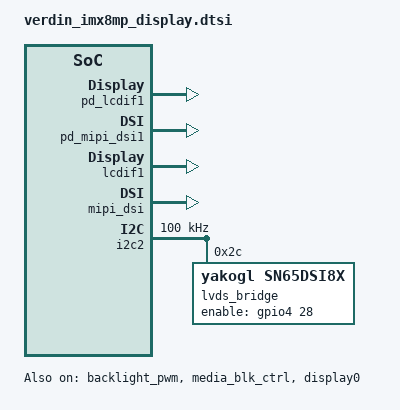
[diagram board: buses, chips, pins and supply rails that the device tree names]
/*
 * SPDX-License-Identifier: Apache-2.0
 * SPDX-FileCopyrightText: 2026 Signal Slot, Inc.
 *
 * The display chain of a Verdin iMX8M Plus on a Mallow carrier with the
 * 10.1-inch Riverdi RVT101HVDWC00-B panel, as the Zephyr device tree needs
 * it. Included by the samples' Verdin iMX8M Plus board overlays.
 *
 * Every address, GPIO, I2C address and timing here was read out of the
 * board's own live Linux device tree (2026-09-20), not out of a datasheet:
 *   lcd-controller@32e80000  "fsl,imx8mp-lcdif1"     (LCDIFv3, "LCDIF1")
 *   mipi_dsi@32e60000        "fsl,imx8mp-mipi-dsim"
 *   blk-ctrl@32ec0000        "fsl,imx8mp-media-blk-ctrl" (ours:
 *                            yakogl,imx8mp-media-blk-ctrl, with the GPC,
 *                            CCM and CCM_ANALOG ranges)
 *   pwm@30680000             PWM3, backlight-verdin-dsi, 6667179 ns period
 *   i2c@30a30000/bridge@2c   "ti,sn65dsi83", enable-gpios GPIO4 28 active high
 *   panel-rvt101hvdwc00b     panel-lvds, data-mapping "vesa-24"
 *
 * Note the numbering: Linux's i2c@30a30000 is I2C2, which is Zephyr's
 * &i2c2 as well, and its pinctrl group uses the dedicated I2C2_SCL/SDA
 * pads. The bridge is an SN65DSI84 on the schematic but Linux drives it as
 * an SN65DSI83, i.e. one LVDS link; src/display/NOTES.md has the detail.
 *
 * This belongs in boards/toradex/verdin_imx8mp/ in the SafeUI application
 * repository once it has run on hardware. It lives here while it is
 * unproven so that repository keeps building for everyone else.
 */

#include <zephyr/dt-bindings/gpio/gpio.h>
#include <zephyr/dt-bindings/i2c/i2c.h>
#include <zephyr/dt-bindings/pwm/pwm.h>

&pinctrl {
	/*
	 * Pad settings approximate what Linux writes: I2C2 gets 0x400001c6
	 * (max drive, pull-up, hysteresis, and the SION bit that an I2C pad
	 * needs so the controller can read the line back), PWM3 gets 0x06.
	 * See NOTES.md, "Open questions".
	 */
	i2c2_display: i2c2_display {
		group0 {
			pinmux = <&iomuxc_i2c2_scl_i2c_scl_i2c2_scl>,
				 <&iomuxc_i2c2_sda_i2c_sda_i2c2_sda>;
			drive-strength = "x6";
			slew-rate = "slow";
			bias-pull-up;
			drive-open-drain;
			input-schmitt-enable;
			input-enable;
		};
	};

	pwm3_backlight: pwm3_backlight {
		group0 {
			/* PWM_3_DSI on the Verdin is the SAI5_RXC pad (Linux pwm3grp:
			 * mux 0x130 ALT2), not GPIO1_IO14, which also carries PWM3. */
			pinmux = <&iomuxc_sai5_rxc_pwm_out_pwm3_out>;
			drive-strength = "x4";
			slew-rate = "slow";
		};
	};
};

/* The bridge EN line is GPIO4_IO28 (Verdin GPIO_10_DSI). The gpio driver
 * muxes the pad itself, from the pinmux list in the SoC dtsi. */
&gpio4 {
	status = "okay";
};

&i2c2 {
	status = "okay";
	clock-frequency = <I2C_BITRATE_STANDARD>;
	pinctrl-0 = <&i2c2_display>;
	pinctrl-names = "default";

	/* Driven by display0 (no dsi-host): its EN is claimed at the level
	 * the chain is found at, and nothing is written on the adopt path.
	 * LVDS side as the board's Linux runs it (golden dump 0x18 = 0x18):
	 * single link, 24 bpp, format 2, HS/VS/DE positive -- the panel is
	 * DE-driven, its stated HS/VS polarity is not what the bridge drives
	 * (src/display/NOTES.md). Termination 200 ohm, the reset value
	 * (0x1A = 0x03). */
	lvds_bridge: bridge@2c {
		compatible = "yakogl,sn65dsi8x";
		reg = <0x2c>;
		enable-gpios = <&gpio4 28 GPIO_ACTIVE_HIGH>;
		data-lanes = <4>;
		lvds-24bpp;
		status = "okay";
	};
};

/ {
	soc {
		/* PWM3 (PWM_3_DSI), the backlight. Its clock root and gate are
		 * hal_nxp fsl_clock.h's kCLOCK_RootPwm3 = ROOT[105] and
		 * kCLOCK_Pwm3 = CCM_TUPLE(42, 105). */
		backlight_pwm: pwm@30680000 {
			compatible = "yakogl,imx-pwm";
			reg = <0x30680000 0x10000>,
			      <0x30380000 0x10000>;
			reg-names = "pwm", "ccm";
			ccm-root = <105>;
			ccm-gate = <42>;
			#pwm-cells = <3>;
			pinctrl-0 = <&pwm3_backlight>;
			pinctrl-names = "default";
			status = "okay";
		};

		/* MEDIAMIX and its display domains (yakogl,imx8mp-media-pd),
		 * and the clocks a kexec'd image must open before any driver:
		 * I2C2_CLK_ROOT (91) and PWM3_CLK_ROOT (105), gates I2C2 (24),
		 * PWM3 (42) and GPIO4 (14) -- IMX8MPRM Tables 5-1 and 5-9. */
		media_blk_ctrl: blk-ctrl@32ec0000 {
			compatible = "yakogl,imx8mp-media-blk-ctrl";
			reg = <0x32ec0000 0x10000>,   /* MEDIA_BLK_CTRL */
			      <0x303a0000 0x10000>,   /* GPC */
			      <0x30380000 0x10000>,   /* CCM */
			      <0x30360000 0x10000>;   /* CCM_ANALOG */
			reg-names = "blkctrl", "gpc", "ccm", "anatop";
			early-ccm-roots = <91 105>;
			early-ccm-gates = <24 42 14>;
			status = "okay";

			pd_lcdif1: pd-lcdif1 {
				compatible = "yakogl,imx8mp-media-pd";
				domain = "lcdif1";
				#power-domain-cells = <0>;
			};

			pd_mipi_dsi1: pd-mipi-dsi1 {
				compatible = "yakogl,imx8mp-media-pd";
				domain = "mipi-dsi1";
				#power-domain-cells = <0>;
			};
		};

		/* LCDIF1 and the MIPI DSI host as devices of their own, register
		 * logic in Rust (driver/docs/imx8mp-display-cold.md). display0
		 * drives them only with CONFIG_YAKOGL_DRV_DISPLAY_IMX8MP_LCDIF_RUST /
		 * CONFIG_YAKOGL_DRV_DSIM_RUST (default n: src/display/imx8mp_lcdif.c
		 * and imx8mp_dsim.c on display0's own reg ranges). INV_PXCK as the
		 * board's Linux has it (CTRL 0x08); panic thresholds 1/3 and 2/3
		 * of the FIFO as NXP's SDK suggests; LCDIF1 is Arm interrupt 5
		 * (IMX8MPRM Table 7-1). The DSIM's clock facts repeat display0's
		 * (the build checks they agree). */
		lcdif1: display-controller@32e80000 {
			compatible = "yakogl,imx8mp-lcdif";
			reg = <0x32e80000 0x10000>;
			interrupts = <GIC_SPI 5 IRQ_TYPE_LEVEL IRQ_DEFAULT_PRIORITY>;
			interrupt-parent = <&gic>;
			hactive = <1280>;
			vactive = <800>;
			pixclk-rising;
			panic-thresholds = <170 340>;
			dsi-host = <&mipi_dsi>;
			status = "okay";
		};

		mipi_dsi: dsi@32e60000 {
			compatible = "yakogl,samsung-dsim";
			reg = <0x32e60000 0x1000>;
			pll-ref-frequency = <12000000>;
			burst-clock-frequency = <426600000>;
			esc-clock-frequency = <20000000>;
			data-lanes = <4>;
			pixel-clock-frequency = <69300000>;
			burst-mode;
			status = "okay";
		};

		display0: display@32e80000 {
			compatible = "yakogl,imx8mp-display";
			reg = <0x32e80000 0x10000>,   /* LCDIFv3 ("LCDIF1") */
			      <0x32e60000 0x1000>;    /* MIPI DSIM + D-PHY */
			reg-names = "lcdif", "dsim";
			power-domains = <&pd_lcdif1>, <&pd_mipi_dsi1>;

			bridge = <&lvds_bridge>;
			lcdif = <&lcdif1>;
			dsi = <&mipi_dsi>;
			dsi-lanes = <4>;

			/* Riverdi RVT101HVDWC00-B (min 66.3 MHz, typ 71.1 MHz,
			 * max 78.9 MHz) at the board's Linux plan: VIDEO_PLL1
			 * 1039.5 MHz (m 173, k 16384) / 15 = 69.3 MHz, 69.3e6 /
			 * (1404 x 840) = 58.76 Hz. DSIM reference 24 MHz / 2, DSI
			 * burst clock 426.6 MHz (PLL p 5 m 711 s 2).
			 *
			 * The rule: the lane rate must exceed pixel x 24 / lanes
			 * by a margin, for the packet overhead of every line (the
			 * headers and checksums of the blanking and pixel packets,
			 * the HS entry and exit). 69.3 MHz leaves 426.6 / 415.8 =
			 * 2.6 %, and is the plan the panel was seen right at
			 * (2026-09-24). A clock with no margin breaks the picture:
			 * 71.43 MHz on a 428.6 Mbit/s link (2026-09-23) and 71.1
			 * MHz on 426.6 Mbit/s (71.1 x 24 / 4 exactly; the panel
			 * showed 1.5 copies of the frame a line, 2026-10-06,
			 * issue #23). ip::samsung_dsim::LINK_MARGIN_PERMILLE pins
			 * the margin; dsi_chain_tests.rs (verdin_dt) reads this
			 * node and refuses a plan without it, and imx8mp_display.c
			 * has the same check as a BUILD_ASSERT.
			 *
			 * The DSIM's HBP word count is 43 at 69.3 MHz (64 x
			 * 53.325 / 69.3 - 6), Linux's 42 being computed for its
			 * 71.1 MHz mode; 43 is what ran on 2026-09-24. The bridge
			 * CSRs do not depend on the pixel clock: DSI clock 213.3 MHz
			 * (CHA_DSI_CLK_RANGE 42), divider 3, LVDS clock 71.1 MHz,
			 * as Linux has them (0x0b = 0x10, 0x12 = 0x2a). NOTES.md,
			 * "Pixel clock". */
			clock-frequency = <69300000>;
			video-pll1-frequency = <1039500000>;
			pll-ref-frequency = <12000000>;
			burst-clock-frequency = <426600000>;
			hactive = <1280>;
			vactive = <800>;
			hfront-porch = <36>;
			hback-porch = <64>;
			hsync-len = <24>;
			vfront-porch = <8>;
			vback-porch = <24>;
			vsync-len = <8>;
			hsync-active = <0>;
			vsync-active = <0>;
			de-active = <1>;

			pwms = <&backlight_pwm 0 6667179 PWM_POLARITY_NORMAL>;
			backlight-brightness-percent = <100>;

			status = "okay";
		};
	};
};
